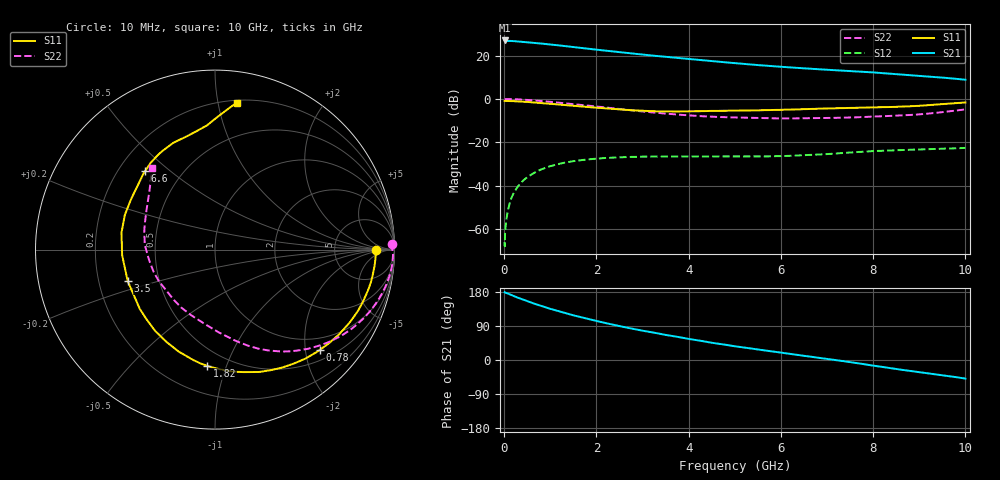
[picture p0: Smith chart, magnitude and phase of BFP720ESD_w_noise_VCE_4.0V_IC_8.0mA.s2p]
! Infineon Technologies  Discrete & RF Semiconductors
! BFP720ESD
! VCE =  4.0 V,  IC =  8.0 mA
! Common Emitter S-Parameters:  Jan 2016
# GHz  S  MA  R  50
!  f  S11  S21  S12  S22
! GHz  MAG  ANG  MAG  ANG  MAG  ANG  MAG  ANG
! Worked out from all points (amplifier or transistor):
!   233 points, 10 MHz to 10 GHz, reference 50 ohm
!   highest |S21| = 27.0 dB at 10 MHz (marker M1)
!   |S21| within 3 dB of that: start of sweep to 1.482 GHz
!   unconditionally stable (mu >= 1): 13.13 MHz to 15.57 MHz; 5.317 GHz to 8.984 GHz
!   at 200 MHz: K = 0.12, MSG = 35.2 dB, |S12| = -43.7 dB
!   at 1.74 GHz: K = 0.35, MSG = 25.7 dB, |S12| = -28.1 dB
!   at 10 GHz: K = 0.69, MSG = 15.7 dB, |S12| = -22.6 dB
!   lowest NFmin = 0.62 dB at 450 MHz
!   S11 on the Smith chart (normalised r, x): 10 MHz: 18, -1; 780 MHz: 0.72, -2.30; 1.82 GHz: 0.38, -0.86; 3.5 GHz: 0.33, -0.16; 6.6 GHz: 0.31, +0.41; 10 GHz: 0.22, +1.13
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0.01  0.8972 -0.2  22.32 178.7  0.0005 -42.4  0.9865 1.9
0.02  0.8975 -0.8  21.93 177.9  0.0008 60.9  0.9876 -0.3
0.12  0.8922 -7.0  21.78 173.4  0.0039 79.8  0.9912 -4.4
0.36  0.8708 -20.9  20.98 161.5  0.0114 74.9  0.9683 -13.2
0.6  0.8375 -34.2  19.89 150.7  0.0183 67.7  0.9318 -21.3
0.78  0.8082 -43.7  19.04 143.6  0.023 62.3  0.899 -27.0
0.94  0.7822 -52.1  18.3 137.3  0.0267 57.8  0.8682 -31.8
1.2  0.7397 -65.3  17.1 127.8  0.0319 51.0  0.816 -39.2
1.68  0.6675 -87.5  14.97 112.2  0.0388 40.3  0.7235 -51.1
1.82  0.6496 -93.7  14.37 108.1  0.0402 37.7  0.6989 -54.2
2.2  0.6036 -109.5  12.99 97.4  0.0434 31.2  0.6343 -62.3
2.58  0.5642 -125.3  11.77 87.4  0.0454 25.5  0.5722 -70.2
3  0.5338 -141.7  10.56 77.3  0.0465 20.7  0.5131 -78.4
3.4  0.516 -156.4  9.572 68.6  0.0468 17.3  0.4685 -85.9
3.5  0.5171 -160.2  9.363 66.2  0.0469 16.4  0.4588 -88.0
4  0.5184 -176.6  8.376 55.7  0.0472 13.5  0.4171 -98.2
4.5  0.5296 169.6  7.49 45.5  0.0472 11.2  0.3888 -110.0
5.1  0.5384 157.0  6.547 34.6  0.0469 10.1  0.3703 -122.2
6.6  0.5852 131.8  4.997 9.5  0.0507 11.9  0.3592 -152.7
6.8  0.5931 129.1  4.843 6.2  0.052 12.0  0.3607 -156.6
8.4  0.6509 103.8  3.789 -22.0  0.065 5.8  0.4061 166.0
10  0.8268 81.6  2.768 -49.0  0.074 -3.3  0.5725 127.5
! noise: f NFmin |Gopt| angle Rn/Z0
0.45  0.62  0.34  4  0.12
0.9  0.66  0.33  11  0.14
1.9  0.68  0.28  27  0.13
2.4  0.71  0.26  32  0.13
5.5  0.88  0.04  109  0.09
10  1.4  0.52  -95  0.36
